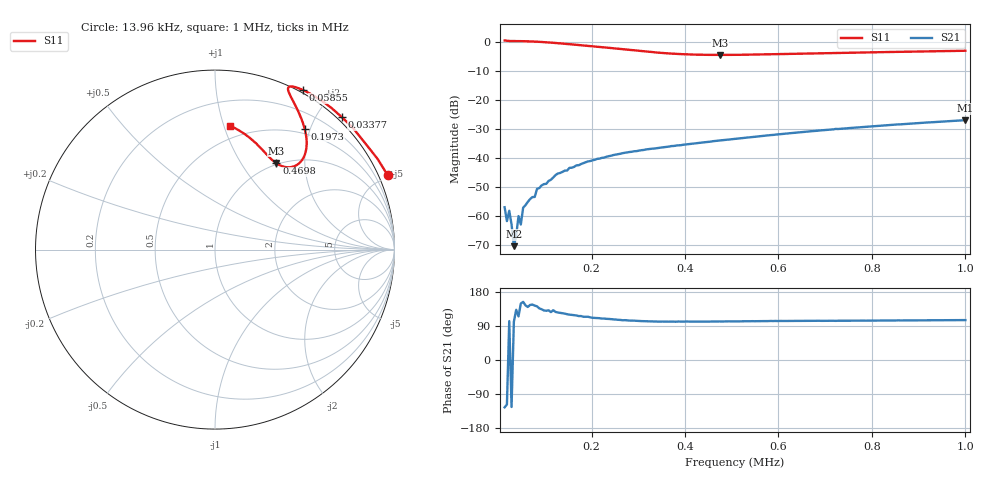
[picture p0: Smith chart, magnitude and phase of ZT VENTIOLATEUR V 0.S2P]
!Agilent Technologies,E5071C,MY46109397,A.09.54
!Date: Mon Jan 01 02:05:00 2001
!Data & Calibration Information:
!Freq	S11:SOLT1(ON)	S21:RESPT(ON)	S12:NONE(--)	S22:NONE(--)
# Hz S RI R 50
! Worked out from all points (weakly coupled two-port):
!   200 points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, 13.96 kHz to 1 MHz, reference 50 ohm
!   highest |S21| = -27.04 dB at 1 MHz (marker M1); lowest = -70.4 dB at 33.77 kHz (marker M2)
!   lowest |S11| = -4.6 dB at 474.8 kHz (marker M3), VSWR 3.88, Z = 48.6 + j72.1 ohm
!   |S11| at or under -10 dB: nowhere
!   S12 and S22 are empty: the file has one direction only
!   S11 on the Smith chart (normalised r, x): 13.96 kHz: -0.56, +4.78; 33.77 kHz: -0.07, +2.35; 58.55 kHz: -0.03, +1.69; 197.3 kHz: 0.42, +1.91; 469.8 kHz: 0.98, +1.45; 1 MHz: 0.39, +1.05
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13955  0.9615 0.4148  -0.000807 -0.00116  0 0  0 0
18910  0.9072 0.5035  -0.000375 -0.000723  0 0  0 0
23865  0.833 0.5974  -0.000268 0.0012  0 0  0 0
28820  0.7697 0.6761  -0.0004 -0.000592  0 0  0 0
33775  0.7081 0.7368  -5.74e-05 0.000296  0 0  0 0
38730  0.652 0.7864  -0.000309 0.000338  0 0  0 0
43685  0.6021 0.8242  -0.00042 0.0009  0 0  0 0
48640  0.5579 0.8527  -0.00061 0.000364  0 0  0 0
53595  0.5212 0.8738  -0.00124 0.00062  0 0  0 0
58550  0.4903 0.8889  -0.00124 0.00089  0 0  0 0
78370  0.4203 0.909  -0.00171 0.00126  0 0  0 0
83325  0.4131 0.9071  -0.00228 0.00181  0 0  0 0
122965  0.4255 0.8462  -0.00303 0.00404  0 0  0 0
182425  0.4892 0.7073  -0.00331 0.0074  0 0  0 0
197290  0.4994 0.6736  -0.00338 0.00813  0 0  0 0
345940  0.4431 0.4651  -0.0029 0.0146  0 0  0 0
469815  0.3424 0.4808  -0.00404 0.0193  0 0  0 0
474770  0.3393 0.483  -0.00405 0.0195  0 0  0 0
509455  0.319 0.4989  -0.00435 0.0209  0 0  0 0
672970  0.2446 0.5768  -0.00661 0.028  0 0  0 0
836485  0.1705 0.6399  -0.00894 0.0354  0 0  0 0
1000000  0.0852 0.6911  -0.0117 0.0429  0 0  0 0
